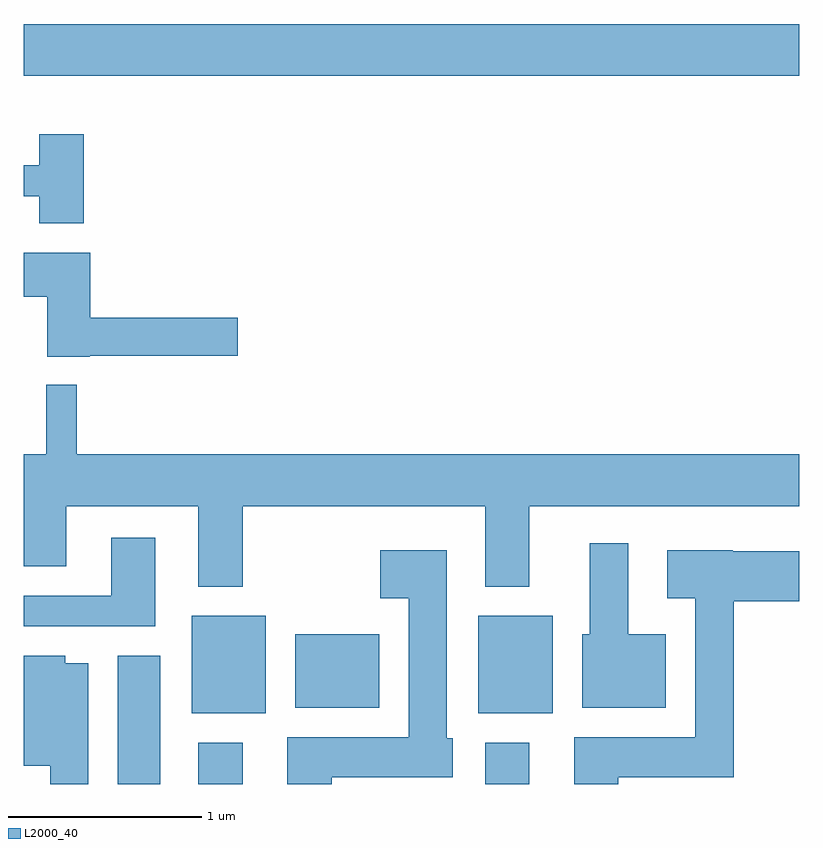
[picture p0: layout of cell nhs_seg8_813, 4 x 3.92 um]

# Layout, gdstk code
import gdstk
lib = gdstk.Library(unit=1e-6, precision=1e-09)
def R(c, l, rs):  # rectangles x0, y0, x1, y1
    for r in rs: c.add(gdstk.rectangle(r[:2], r[2:], *l))
def P(c, l, *ps):  # polygons
    for p in ps: c.add(gdstk.Polygon(p, *l))
L2000_40 = (2000, 40)

nhs_seg8_813 = lib.new_cell('nhs_seg8_813')
R(nhs_seg8_813, L2000_40, [(210.096,1808.342,210.314,1809.004), (210.511,1808.342,210.739,1808.554), (211.991,1808.342,212.219,1808.554), (210.476,1808.706,210.859,1809.209), (211.956,1808.706,212.339,1809.209), (211.011,1808.736,211.444,1809.114), (209.611,1811.996,213.611,1812.264)])
P(nhs_seg8_813, L2000_40, [(209.919,1811.694),(209.691,1811.694),(209.691,1811.534),(209.611,1811.534),(209.611,1811.376),(209.691,1811.376),(209.691,1811.236),(209.919,1811.236)],
  [(209.95,1810.551),(210.714,1810.551),(210.714,1810.749),(209.954,1810.749),(209.954,1811.084),(209.611,1811.084),(209.611,1810.856),(209.731,1810.856),(209.731,1810.546),(209.95,1810.546)],
  [(210.739,1809.776),(211.991,1809.776),(211.991,1809.361),(212.219,1809.361),(212.219,1809.776),(213.611,1809.776),(213.611,1810.044),(209.884,1810.044),(209.884,1810.403),(209.726,1810.403),(209.726,1810.044),(209.611,1810.044),(209.611,1809.466),(209.829,1809.466),(209.829,1809.776),(210.511,1809.776),(210.511,1809.361),(210.739,1809.361)],
  [(210.289,1809.614),(210.061,1809.614),(210.061,1809.314),(209.611,1809.314),(209.611,1809.156),(210.289,1809.156)],
  [(212.924,1809.114),(212.729,1809.114),(212.729,1809.584),(212.531,1809.584),(212.531,1809.114),(212.491,1809.114),(212.491,1808.736),(212.924,1808.736)],
  [(211.199,1808.376),(211.824,1808.376),(211.824,1808.579),(211.794,1808.579),(211.794,1809.549),(211.451,1809.549),(211.451,1809.301),(211.596,1809.301),(211.596,1808.584),(210.971,1808.584),(210.971,1808.342),(211.199,1808.342)],
  [(212.679,1808.376),(213.274,1808.376),(213.274,1809.286),(213.611,1809.286),(213.611,1809.544),(213.27,1809.544),(213.27,1809.549),(212.931,1809.549),(212.931,1809.301),(213.076,1809.301),(213.076,1808.584),(212.451,1808.584),(212.451,1808.342),(212.679,1808.342)],
  [(209.944,1808.964),(209.824,1808.964),(209.824,1809.004),(209.611,1809.004),(209.611,1808.436),(209.746,1808.436),(209.746,1808.342),(209.944,1808.342)])

lib.write_gds('nhs_seg8_813.gds')
